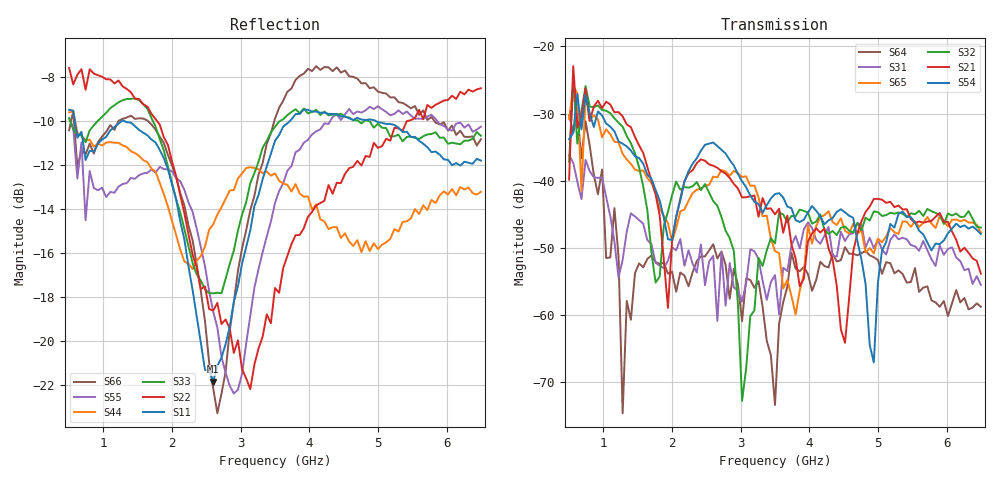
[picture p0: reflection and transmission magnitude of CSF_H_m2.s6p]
!Keysight Technologies,M9804A,MY58100912,A.14.10.03
!Date: Thursday, April 27, 2023 10:28:33
!Correction: S11(C  6-Port  )
!S12(C  6-Port  )
!S13(C  6-Port  )
!S14(C  6-Port  )
!S15(C  6-Port  )
!S16(C  6-Port  )
!S21(C  6-Port  )
!S22(C  6-Port  )
!S23(C  6-Port  )
!S24(C  6-Port  )
!S25(C  6-Port  )
!S26(C  6-Port  )
!S31(C  6-Port  )
!S32(C  6-Port  )
!S33(C  6-Port  )
!S34(C  6-Port  )
!S35(C  6-Port  )
!S36(C  6-Port  )
!S41(C  6-Port  )
!S42(C  6-Port  )
!S43(C  6-Port  )
!S44(C  6-Port  )
!S45(C  6-Port  )
!S46(C  6-Port  )
!S51(C  6-Port  )
!S52(C  6-Port  )
!S53(C  6-Port  )
!S54(C  6-Port  )
!S55(C  6-Port  )
!S56(C  6-Port  )
!S61(C  6-Port  )
!S62(C  6-Port  )
!S63(C  6-Port  )
!S64(C  6-Port  )
!S65(C  6-Port  )
!S66(C  6-Port  )
!S6P File: Measurement: :
# Hz S  RI  R 50
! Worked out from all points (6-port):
!   101 points, 500 MHz to 6.5 GHz, reference 50 ohm
!   strongest paths, dB at 500 MHz, 2 GHz, 3.5 GHz, 5 GHz, 6.5 GHz:
!     S54: -33.8, -48.8, -42.0, -55.1, -47.9
!     S21: -39.8, -49.0, -45.0, -42.7, -53.8
!     S32: -37.2, -42.1, -49.3, -44.7, -47.0
!     S65: -30.8, -49.0, -50.5, -48.6, -47.7
!     S31: -36.2, -49.9, -54.0, -48.7, -55.5
!     S64: -30.3, -53.5, -73.4, -51.8, -58.7
!   lowest |S11| = -21.8 dB at 2.6 GHz (marker M1), VSWR 1.18, Z = 42.7 + j1.9 ohm
!   |S11| at or under -10 dB: 582.3 MHz to 1.272 GHz (689.8 MHz wide, 74.4 % of centre); 1.294 GHz to 3.72 GHz (2.426 GHz wide, 96.8 % of centre); 4.961 GHz to end of sweep
